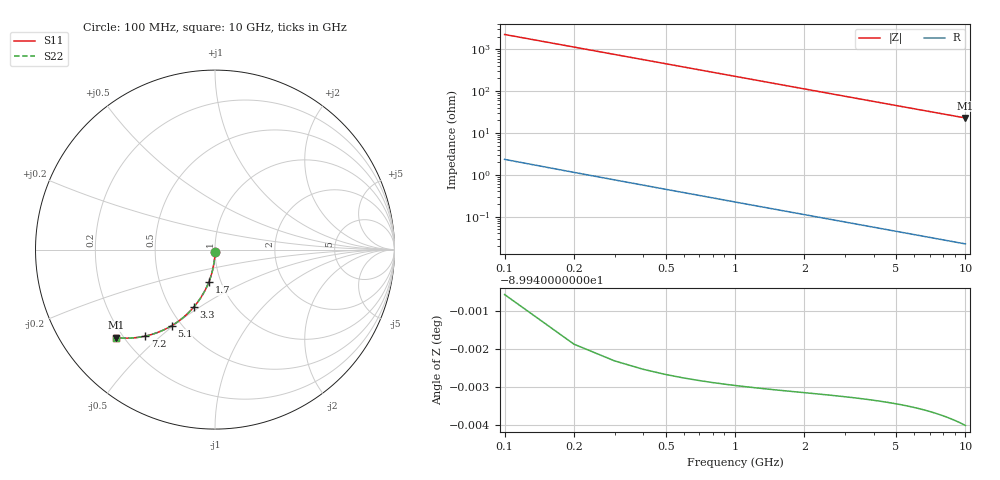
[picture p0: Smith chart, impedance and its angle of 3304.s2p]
# Hz S RI R 50.00
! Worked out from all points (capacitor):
!   100 points, 100 MHz to 10 GHz, reference 50 ohm
!   read as one part in shunt: C = 706 fF near 100 MHz
!   lowest |Z| = 22.8 ohm at 10 GHz (marker M1)
!   S11 on the Smith chart (normalised r, x): 100 MHz: 1.00, -0.02; 1.7 GHz: 0.88, -0.33; 3.3 GHz: 0.65, -0.47; 5.1 GHz: 0.44, -0.49; 7.2 GHz: 0.29, -0.45; 10 GHz: 0.17, -0.37
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1e8  -0.000119 -0.011  0.9999 -0.0112  0.9999 -0.0112  -0.000119 -0.011
2e8  -0.000499 -0.022  0.9995 -0.0223  0.9995 -0.0223  -0.000499 -0.022
3e8  -0.00112 -0.033  0.9988 -0.0334  0.9988 -0.0334  -0.00112 -0.033
4e8  -0.00199 -0.044  0.998 -0.0445  0.998 -0.0445  -0.00199 -0.044
5e8  -0.00311 -0.0549  0.9969 -0.0556  0.9969 -0.0556  -0.00311 -0.0549
6e8  -0.00446 -0.0658  0.9955 -0.0666  0.9955 -0.0666  -0.00446 -0.0658
8e8  -0.00788 -0.0875  0.9921 -0.0885  0.9921 -0.0885  -0.00788 -0.0875
9e8  -0.00994 -0.0982  0.99 -0.0994  0.99 -0.0994  -0.00994 -0.0982
1.1e9  -0.0148 -0.1194  0.9852 -0.1209  0.9852 -0.1209  -0.0148 -0.1194
1.4e9  -0.0237 -0.1506  0.9763 -0.1525  0.9763 -0.1525  -0.0237 -0.1506
1.7e9  -0.0344 -0.1808  0.9655 -0.1831  0.9655 -0.1831  -0.0344 -0.1808
1.8e9  -0.0384 -0.1906  0.9615 -0.193  0.9615 -0.193  -0.0384 -0.1906
2.1e9  -0.0516 -0.2192  0.9484 -0.2221  0.9484 -0.2221  -0.0516 -0.2192
2.5e9  -0.0714 -0.2554  0.9285 -0.2588  0.9285 -0.2588  -0.0714 -0.2554
3.3e9  -0.118 -0.3199  0.8819 -0.3244  0.8819 -0.3244  -0.118 -0.3199
3.4e9  -0.1243 -0.3272  0.8756 -0.3318  0.8756 -0.3318  -0.1243 -0.3272
4.2e9  -0.1779 -0.3791  0.8221 -0.3848  0.8221 -0.3848  -0.1779 -0.3791
5.1e9  -0.2415 -0.424  0.7584 -0.431  0.7584 -0.431  -0.2415 -0.424
6.7e9  -0.3541 -0.4731  0.6458 -0.4824  0.6458 -0.4824  -0.3541 -0.4731
7.2e9  -0.3875 -0.4817  0.6124 -0.4917  0.6124 -0.4917  -0.3875 -0.4817
8.4e9  -0.4623 -0.4922  0.5376 -0.5039  0.5376 -0.5039  -0.4623 -0.4922
1e10  -0.5489 -0.4901  0.451 -0.5041  0.451 -0.5041  -0.5489 -0.4901
